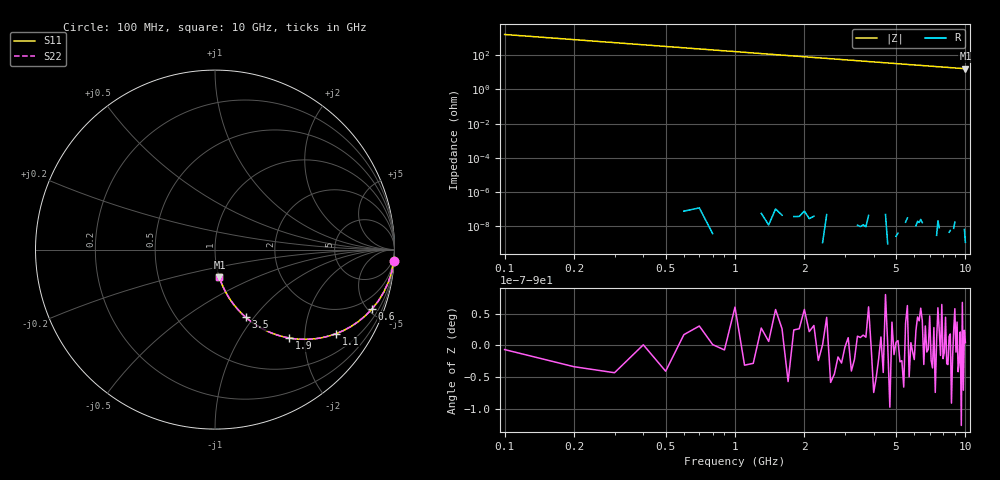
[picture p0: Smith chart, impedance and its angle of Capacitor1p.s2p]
! Created Tue Apr  6 18:03:27 2021
# ghz S ri R 50
! 2 Port Network Data from SP1.SP block
! freq  reS11  imS11  reS21  imS21  reS12  imS12  reS22  imS22
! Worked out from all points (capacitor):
!   100 points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, 100 MHz to 10 GHz, reference 50 ohm
!   read as one part in series: C = 1 pF near 100 MHz
!   lowest |Z| = 15.9 ohm at 10 GHz (marker M1)
!   S11 on the Smith chart (normalised r, x): 100 MHz: 1, -32; 600 MHz: 1.00, -5.31; 1.1 GHz: 1.00, -2.89; 1.9 GHz: 1.00, -1.68; 3.5 GHz: 1.00, -0.91; 10 GHz: 1.00, -0.32
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0.1  0.9961 -0.0626  0.00393 0.0626  0.00393 0.0626  0.9961 -0.0626
0.2  0.9845 -0.1237  0.0155 0.1237  0.0155 0.1237  0.9845 -0.1237
0.3  0.9657 -0.182  0.0343 0.182  0.0343 0.182  0.9657 -0.182
0.4  0.9406 -0.2364  0.0594 0.2364  0.0594 0.2364  0.9406 -0.2364
0.5  0.9102 -0.2859  0.0898 0.2859  0.0898 0.2859  0.9102 -0.2859
0.6  0.8756 -0.3301  0.1244 0.3301  0.1244 0.3301  0.8756 -0.3301
0.8  0.7983 -0.4013  0.2017 0.4013  0.2017 0.4013  0.7983 -0.4013
0.9  0.7577 -0.4285  0.2423 0.4285  0.2423 0.4285  0.7577 -0.4285
1.1  0.6767 -0.4677  0.3233 0.4677  0.3233 0.4677  0.6767 -0.4677
1.4  0.5638 -0.4959  0.4362 0.4959  0.4362 0.4959  0.5638 -0.4959
1.8  0.4388 -0.4962  0.5612 0.4962  0.5612 0.4962  0.4388 -0.4962
1.9  0.4123 -0.4923  0.5877 0.4923  0.5877 0.4923  0.4123 -0.4923
2.2  0.3436 -0.4749  0.6564 0.4749  0.6564 0.4749  0.3436 -0.4749
2.6  0.2726 -0.4453  0.7274 0.4453  0.7274 0.4453  0.2726 -0.4453
3  0.2196 -0.414  0.7804 0.414  0.7804 0.414  0.2196 -0.414
3.4  0.1797 -0.384  0.8203 0.384  0.8203 0.384  0.1797 -0.384
3.5  0.1713 -0.3768  0.8287 0.3768  0.8287 0.3768  0.1713 -0.3768
4.2  0.1256 -0.3314  0.8744 0.3314  0.8744 0.3314  0.1256 -0.3314
5.1  0.0887 -0.2844  0.9113 0.2844  0.9113 0.2844  0.0887 -0.2844
6.7  0.0534 -0.2249  0.9466 0.2249  0.9466 0.2249  0.0534 -0.2249
8.4  0.0347 -0.1829  0.9653 0.1829  0.9653 0.1829  0.0347 -0.1829
10  0.0247 -0.1552  0.9753 0.1552  0.9753 0.1552  0.0247 -0.1552
